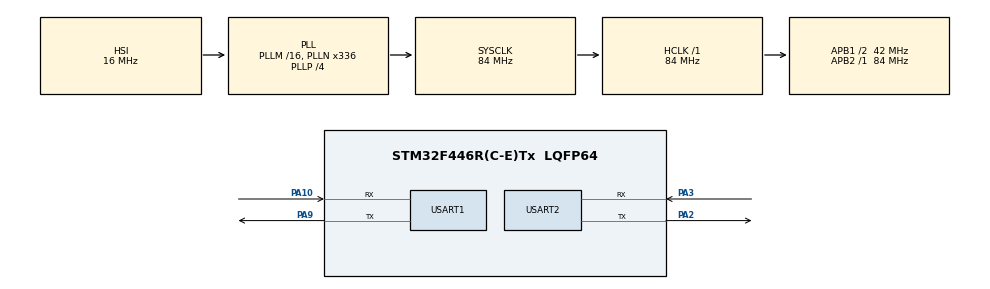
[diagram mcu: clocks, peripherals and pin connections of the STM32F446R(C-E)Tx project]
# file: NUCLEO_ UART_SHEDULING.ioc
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FREERTOS.INCLUDE_vTaskDelayUntil=1
FREERTOS.Tasks01=defaultTask,-3,128,StartDefaultTask,Default,NULL,Dynamic,NULL,NULL
FREERTOS.configUSE_NEWLIB_REENTRANT=1
Mcu.Family=STM32F4
Mcu.Name=STM32F446R(C-E)Tx
Mcu.Package=LQFP64
NVIC.PriorityGroup=NVIC_PRIORITYGROUP_4
NVIC.TIM1_UP_TIM10_IRQn=true\:15\:0\:false\:false\:true\:false\:false\:true\:true
NVIC.TimeBase=TIM1_UP_TIM10_IRQn
NVIC.TimeBaseIP=TIM1
PA10.Mode=Asynchronous
PA10.Signal=USART1_RX
PA2.Mode=Asynchronous
PA2.Signal=USART2_TX
PA3.Mode=Asynchronous
PA3.Signal=USART2_RX
PA9.Mode=Asynchronous
PA9.Signal=USART1_TX
ProjectManager.HeapSize=0x200
ProjectManager.StackSize=0x400
ProjectManager.TargetToolchain=STM32CubeIDE
RCC.48MHZClocksFreq_Value=84000000
RCC.AHBFreq_Value=84000000
RCC.APB1CLKDivider=RCC_HCLK_DIV2
RCC.APB1Freq_Value=42000000
RCC.APB1TimFreq_Value=84000000
RCC.APB2Freq_Value=84000000
RCC.APB2TimFreq_Value=84000000
RCC.CortexFreq_Value=84000000
RCC.FLatency-AdvancedSettings=FLASH_LATENCY_2
RCC.HCLKFreq_Value=84000000
RCC.HSE_VALUE=8000000
RCC.HSI_VALUE=16000000
RCC.PLLN=336
RCC.PLLP=RCC_PLLP_DIV4
RCC.SYSCLKFreq_VALUE=84000000
RCC.SYSCLKSource=RCC_SYSCLKSOURCE_PLLCLK
RCC.USBFreq_Value=168000000
RCC.VCOOutputFreq_Value=336000000
USART1.VirtualMode=VM_ASYNC
USART2.VirtualMode=VM_ASYNC
VP_FREERTOS_VS_CMSIS_V1.Mode=CMSIS_V1
VP_SYS_VS_tim1.Mode=TIM1
board=NUCLEO-F446RE

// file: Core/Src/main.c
/* USER CODE BEGIN Header */
/**
  ******************************************************************************
  * @file           : main.c
  * @brief          : Main program body
  ******************************************************************************
  * @attention
  *
  * Copyright (c) 2024 STMicroelectronics.
  * All rights reserved.
  *
  * This software is licensed under terms that can be found in the LICENSE file
  * in the root directory of this software component.
  * If no LICENSE file comes with this software, it is provided AS-IS.
  *
  ******************************************************************************
  */
/* USER CODE END Header */
#include "main.h"
#include "cmsis_os.h"

/* USER CODE BEGIN Includes */
#include<string.h>
/* USER CODE END Includes */

UART_HandleTypeDef huart1;
UART_HandleTypeDef huart2;

osThreadId defaultTaskHandle;

void SystemClock_Config(void);
static void MX_GPIO_Init(void);
static void MX_USART2_UART_Init(void);
static void MX_USART1_UART_Init(void);
void StartDefaultTask(void const * argument);

/* USER CODE BEGIN 0 */

void vTaskBusyWait(int count)
{
	for(int i = 0 ; i < count ; i++)
		__NOP();
}

void vUARTSendingTask(void *pvParam)
{
	char *pcMessage = (char *)pvParam;
	for(int i = 1 ; i <= 9 ; i++)
	{
		portENTER_CRITICAL();
		HAL_UART_Transmit(&huart2, (uint8_t *)pcMessage, strlen(pcMessage), HAL_MAX_DELAY);
		portEXIT_CRITICAL();
		vTaskBusyWait(5000);
	}
	vTaskDelete(NULL);
}

void vPortYieldTask(void *pvParam)
{
	char *pcMessage = (char *)pvParam;
	for(int i = 1 ; i <= 9 ; i++)
	{
		portENTER_CRITICAL();
		HAL_UART_Transmit(&huart2, (uint8_t *)pcMessage, strlen(pcMessage), HAL_MAX_DELAY);
		portEXIT_CRITICAL();
		vTaskBusyWait(5000);
		if(i % 3 == 0)
			portYIELD();
	}
	vTaskDelete(NULL);
}

void vHighPriorityTask(void *pvParam)
{
	char *pcMessage = (char *)pvParam;
	for(int i = 1 ; i <= 9 ; i++)
	{
		portENTER_CRITICAL();
		HAL_UART_Transmit(&huart2, (uint8_t *)pcMessage, strlen(pcMessage), HAL_MAX_DELAY);
		portEXIT_CRITICAL();
		vTaskBusyWait(5000);
		if(i == 4)
			vTaskDelay(5 / portTICK_RATE_MS);
	}
	vTaskDelete(NULL);
}

void vLowPriorityTask(void *pvParam)
{
	char *pcMessage = (char *)pvParam;
	for(int i = 1 ; i <= 9 ; i++)
	{
		portENTER_CRITICAL();
		HAL_UART_Transmit(&huart2, (uint8_t *)pcMessage, strlen(pcMessage), HAL_MAX_DELAY);
		portEXIT_CRITICAL();
		vTaskBusyWait(5000);
	}
	vTaskDelete(NULL);
}
/* USER CODE END 0 */

int main(void)
{

  /* USER CODE BEGIN 1 */

	BaseType_t xRet;
	char *pcMessage = "This is UART Demo\r\n";
  /* USER CODE END 1 */

  /* MCU Configuration--------------------------------------------------------*/

  /* Reset of all peripherals, Initializes the Flash interface and the Systick. */
  HAL_Init();

  /* Configure the system clock */
  SystemClock_Config();

  /* Initialize all configured peripherals */
  MX_GPIO_Init();
  MX_USART2_UART_Init();
  MX_USART1_UART_Init();
  /* USER CODE BEGIN 2 */
  HAL_UART_Transmit(&huart2, (uint8_t *)pcMessage, strlen(pcMessage), HAL_MAX_DELAY);
  /* USER CODE END 2 */

  /* Create the thread(s) */
  /* definition and creation of defaultTask */
  osThreadDef(defaultTask, StartDefaultTask, osPriorityIdle, 0, 128);
  defaultTaskHandle = osThreadCreate(osThread(defaultTask), NULL);

  /* USER CODE BEGIN RTOS_THREADS */
  /* add threads, ... */
  xRet = xTaskCreate(vHighPriorityTask, "HP", configMINIMAL_STACK_SIZE, "HP\r\n", 5, NULL);
  if(xRet != pdTRUE)
	  Error_Handler();
  xRet = xTaskCreate(vLowPriorityTask, "LP", configMINIMAL_STACK_SIZE, "LP\r\n", 3, NULL);
  if(xRet != pdTRUE)
	  Error_Handler();
  /* USER CODE END RTOS_THREADS */

  /* Start scheduler */
  osKernelStart();

  /* We should never get here as control is now taken by the scheduler */

  /* Infinite loop */
  while (1)
  {

  }
}

void SystemClock_Config(void)
{
  RCC_OscInitTypeDef RCC_OscInitStruct = {0};
  RCC_ClkInitTypeDef RCC_ClkInitStruct = {0};

  /** Configure the main internal regulator output voltage
  */
  __HAL_RCC_PWR_CLK_ENABLE();
  __HAL_PWR_VOLTAGESCALING_CONFIG(PWR_REGULATOR_VOLTAGE_SCALE3);

  /** Initializes the RCC Oscillators according to the specified parameters
  * in the RCC_OscInitTypeDef structure.
  */
  RCC_OscInitStruct.OscillatorType = RCC_OSCILLATORTYPE_HSI;
  RCC_OscInitStruct.HSIState = RCC_HSI_ON;
  RCC_OscInitStruct.HSICalibrationValue = RCC_HSICALIBRATION_DEFAULT;
  RCC_OscInitStruct.PLL.PLLState = RCC_PLL_ON;
  RCC_OscInitStruct.PLL.PLLSource = RCC_PLLSOURCE_HSI;
  RCC_OscInitStruct.PLL.PLLM = 16;
  RCC_OscInitStruct.PLL.PLLN = 336;
  RCC_OscInitStruct.PLL.PLLP = RCC_PLLP_DIV4;
  RCC_OscInitStruct.PLL.PLLQ = 2;
  RCC_OscInitStruct.PLL.PLLR = 2;
  if (HAL_RCC_OscConfig(&RCC_OscInitStruct) != HAL_OK)
  {
    Error_Handler();
  }

  /** Initializes the CPU, AHB and APB buses clocks
  */
  RCC_ClkInitStruct.ClockType = RCC_CLOCKTYPE_HCLK|RCC_CLOCKTYPE_SYSCLK
                              |RCC_CLOCKTYPE_PCLK1|RCC_CLOCKTYPE_PCLK2;
  RCC_ClkInitStruct.SYSCLKSource = RCC_SYSCLKSOURCE_PLLCLK;
  RCC_ClkInitStruct.AHBCLKDivider = RCC_SYSCLK_DIV1;
  RCC_ClkInitStruct.APB1CLKDivider = RCC_HCLK_DIV2;
  RCC_ClkInitStruct.APB2CLKDivider = RCC_HCLK_DIV1;

  if (HAL_RCC_ClockConfig(&RCC_ClkInitStruct, FLASH_LATENCY_2) != HAL_OK)
  {
    Error_Handler();
  }
}

static void MX_USART1_UART_Init(void)
{

  huart1.Instance = USART1;
  huart1.Init.BaudRate = 115200;
  huart1.Init.WordLength = UART_WORDLENGTH_8B;
  huart1.Init.StopBits = UART_STOPBITS_1;
  huart1.Init.Parity = UART_PARITY_NONE;
  huart1.Init.Mode = UART_MODE_TX_RX;
  huart1.Init.HwFlowCtl = UART_HWCONTROL_NONE;
  huart1.Init.OverSampling = UART_OVERSAMPLING_16;
  if (HAL_UART_Init(&huart1) != HAL_OK)
  {
    Error_Handler();
  }

}

static void MX_USART2_UART_Init(void)
{

  huart2.Instance = USART2;
  huart2.Init.BaudRate = 115200;
  huart2.Init.WordLength = UART_WORDLENGTH_8B;
  huart2.Init.StopBits = UART_STOPBITS_1;
  huart2.Init.Parity = UART_PARITY_NONE;
  huart2.Init.Mode = UART_MODE_TX_RX;
  huart2.Init.HwFlowCtl = UART_HWCONTROL_NONE;
  huart2.Init.OverSampling = UART_OVERSAMPLING_16;
  if (HAL_UART_Init(&huart2) != HAL_OK)
  {
    Error_Handler();
  }

}

static void MX_GPIO_Init(void)
{

  /* GPIO Ports Clock Enable */
  __HAL_RCC_GPIOA_CLK_ENABLE();

}

void StartDefaultTask(void const * argument)
{
  for(;;)
  {
    osDelay(1);
  }
}

void HAL_TIM_PeriodElapsedCallback(TIM_HandleTypeDef *htim)
{
  if (htim->Instance == TIM1) {
    HAL_IncTick();
  }
}

void Error_Handler(void)
{
  __disable_irq();
  while (1)
  {
  }
}
